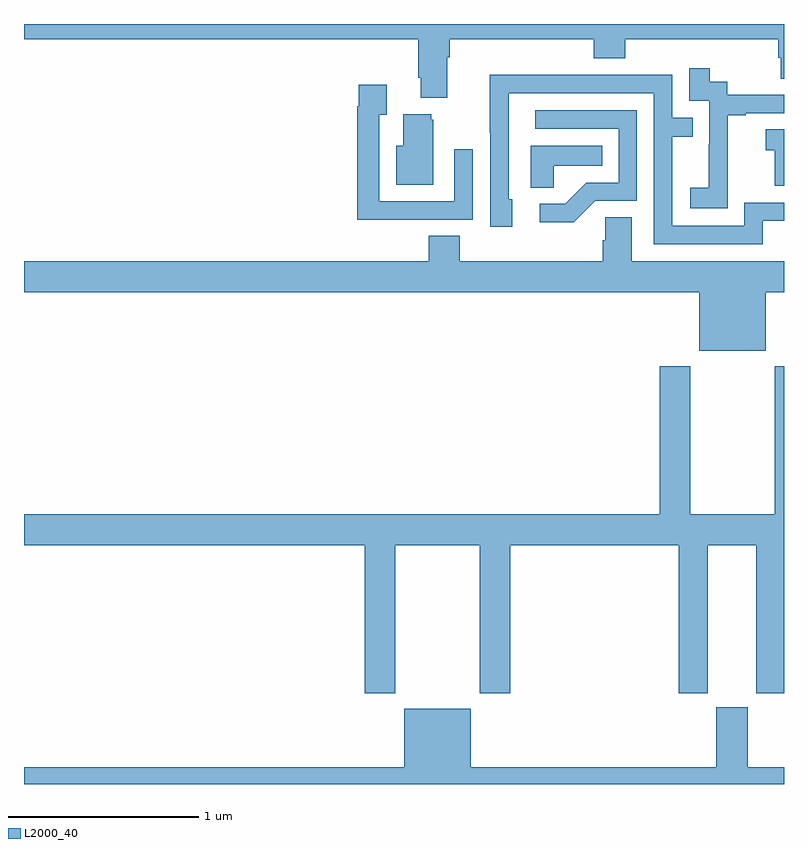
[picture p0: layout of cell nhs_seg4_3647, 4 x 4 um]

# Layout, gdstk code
import gdstk
lib = gdstk.Library(unit=1e-6, precision=1e-09)
def P(c, l, *ps):  # polygons
    for p in ps: c.add(gdstk.Polygon(p, *l))
L2000_40 = (2000, 40)

nhs_seg4_3647 = lib.new_cell('nhs_seg4_3647')
P(nhs_seg4_3647, L2000_40, [(305.227,796.724),(305.24,796.724),(305.24,796.82),(305.999,796.82),(305.999,796.721),(306.164,796.721),(306.164,796.82),(306.971,796.82),(306.971,796.722),(306.983,796.722),(306.983,796.612),(307,796.612),(307,796.9),(303,796.9),(303,796.82),(305.075,796.82),(305.075,796.618),(305.087,796.618),(305.087,796.511),(305.227,796.511)],
  [(306.705,796.135),(306.704,796.135),(306.704,796.419),(306.799,796.419),(306.799,796.431),(307,796.431),(307,796.527),(306.702,796.527),(306.702,796.596),(306.61,796.596),(306.61,796.666),(306.501,796.666),(306.501,796.497),(306.606,796.497),(306.606,796.268),(306.605,796.268),(306.605,796.039),(306.507,796.039),(306.507,795.929),(306.705,795.929)],
  [(306.889,795.864),(307,795.864),(307,795.96),(306.792,795.96),(306.792,795.837),(306.411,795.837),(306.411,796.306),(306.521,796.306),(306.521,796.407),(306.411,796.407),(306.411,796.632),(305.915,796.632),(305.915,796.634),(305.452,796.634),(305.452,796.327),(305.454,796.327),(305.454,795.834),(305.569,795.834),(305.569,795.978),(305.55,795.978),(305.55,796.536),(306.315,796.536),(306.315,795.741),(306.889,795.741)],
  [(305.045,795.87),(305.361,795.87),(305.361,796.24),(305.265,796.24),(305.265,795.966),(304.869,795.966),(304.869,796.423),(304.909,796.423),(304.909,796.579),(304.761,796.579),(304.761,796.466),(304.753,796.466),(304.753,795.869),(305.045,795.869)],
  [(306.006,795.969),(306.225,795.969),(306.225,796.446),(305.691,796.446),(305.691,796.35),(306.129,796.35),(306.129,796.065),(305.96,796.065),(305.849,795.954),(305.715,795.954),(305.715,795.857),(305.893,795.857)],
  [(305.155,796.395),(305.144,796.395),(305.144,796.426),(304.997,796.426),(304.997,796.258),(304.958,796.258),(304.958,796.055),(305.155,796.055)],
  [(307,796.345),(306.903,796.345),(306.903,796.235),(306.952,796.235),(306.952,796.05),(307,796.05)],
  [(305.787,796.154),(306.044,796.154),(306.044,796.258),(305.666,796.258),(305.666,796.039),(305.787,796.039)],
  [(306.904,795.488),(307,795.488),(307,795.652),(306.199,795.652),(306.199,795.884),(306.06,795.884),(306.06,795.761),(306.047,795.761),(306.047,795.652),(305.294,795.652),(305.294,795.785),(305.129,795.785),(305.129,795.652),(303,795.652),(303,795.488),(306.554,795.488),(306.554,795.179),(306.904,795.179)],
  [(304.953,794.156),(305.398,794.156),(305.398,793.377),(305.558,793.377),(305.558,794.156),(306.446,794.156),(306.446,793.377),(306.598,793.377),(306.598,794.156),(306.854,794.156),(306.854,793.377),(307,793.377),(307,795.1),(306.952,795.1),(306.952,794.32),(306.507,794.32),(306.507,795.1),(306.347,795.1),(306.347,794.32),(303,794.32),(303,794.156),(304.793,794.156),(304.793,793.377),(304.953,793.377)],
  [(307,792.988),(306.808,792.988),(306.808,793.305),(306.644,793.305),(306.644,792.988),(305.35,792.988),(305.35,793.297),(305,793.297),(305,792.988),(303,792.988),(303,792.9),(307,792.9)])

lib.write_gds('nhs_seg4_3647.gds')
